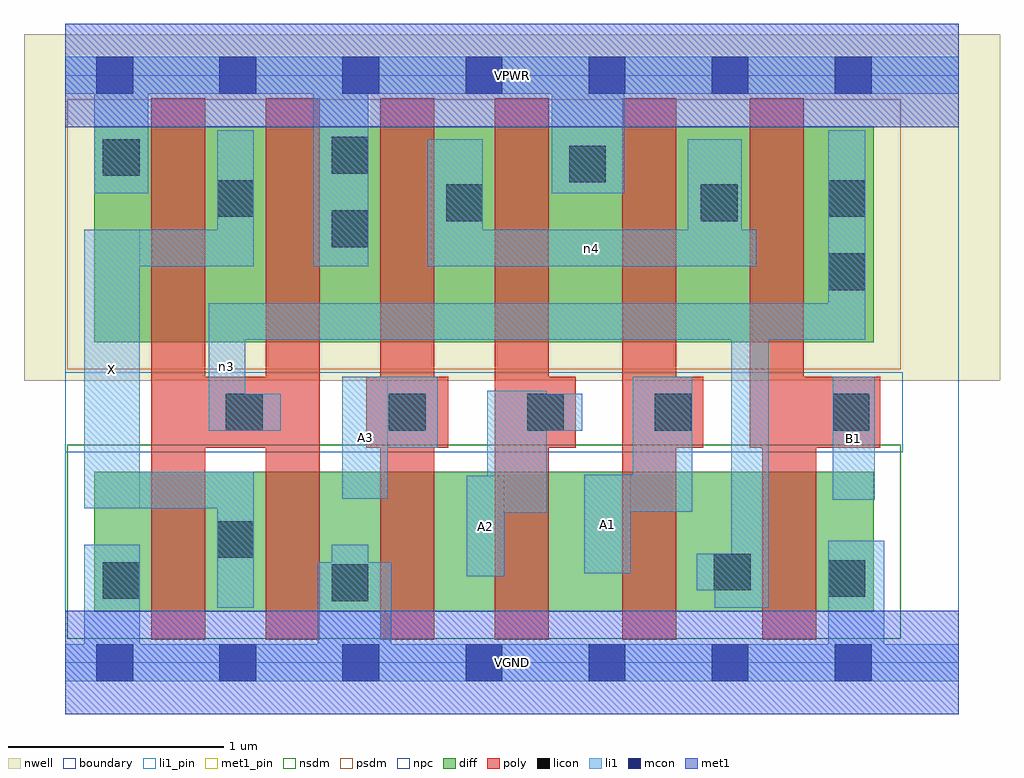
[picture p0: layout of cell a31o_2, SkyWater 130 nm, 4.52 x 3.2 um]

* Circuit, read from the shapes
.subckt a31o_2 A1 A2 A3 B1 VGND VPWR X n3 n4
XM1 X n3 VGND VSUBS sky130_fd_pr__nfet_01v8 w=0.65 l=0.25 m=2
XM2 n1 A3 VGND VSUBS sky130_fd_pr__nfet_01v8 w=0.65 l=0.25
XM3 n2 A2 n1 VSUBS sky130_fd_pr__nfet_01v8 w=0.65 l=0.25
XM4 n3 A1 n2 VSUBS sky130_fd_pr__nfet_01v8 w=0.65 l=0.25
XM5 VGND B1 n3 VSUBS sky130_fd_pr__nfet_01v8 w=0.65 l=0.25
XM6 X n3 VPWR n5 sky130_fd_pr__pfet_01v8 w=1 l=0.25 m=2
XM7 n4 A3 VPWR n5 sky130_fd_pr__pfet_01v8 w=1 l=0.25
XM8 VPWR A2 n4 n5 sky130_fd_pr__pfet_01v8 w=1 l=0.25
XM9 n4 A1 VPWR n5 sky130_fd_pr__pfet_01v8 w=1 l=0.25
XM10 n3 B1 n4 n5 sky130_fd_pr__pfet_01v8 w=1 l=0.25
.ends

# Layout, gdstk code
import gdstk
lib = gdstk.Library(unit=1e-6, precision=1e-09)
def R(c, l, rs):  # rectangles x0, y0, x1, y1
    for r in rs: c.add(gdstk.rectangle(r[:2], r[2:], *l))
def A(c, l, x, y, w, h, nx, ny, dx, dy):  # array of equal rectangles
    R(c, l, [(x+i*dx, y+j*dy, x+i*dx+w, y+j*dy+h) for i in range(nx) for j in range(ny)])
nwell = (64, 20)
diff = (65, 20)
poly = (66, 20)
licon = (66, 44)
li1_pin = (67, 16)
li1 = (67, 20)
mcon = (67, 44)
met1_pin = (68, 16)
met1 = (68, 20)
nsdm = (93, 44)
psdm = (94, 20)
npc = (95, 20)
boundary = (235, 4)

a31o_2 = lib.new_cell('a31o_2')
R(a31o_2, nwell, [(-0.19,1.305,4.33,2.91), (0,1.305,4.14,2.91)])
R(a31o_2, diff, [(0.135,0.235,3.745,0.885), (0.135,1.485,3.745,2.485)])
A(a31o_2, poly, 0.4, 0.105, 0.25, 2.51, 4, 1, 0.53, 0)
R(a31o_2, poly, [(2.58,0.105,2.83,2.615), (3.23,0.105,3.48,1.325), (0.4,0.995,1.18,1.325), (1.395,0.995,1.775,1.325), (1.99,0.995,2.365,1.325), (2.58,0.995,2.955,1.325), (3.17,0.995,3.42,2.615), (3.17,0.995,3.775,1.325)])
R(a31o_2, licon, [(1.235,0.285,1.405,0.455), (0.175,0.295,0.345,0.465), (3.535,0.305,3.705,0.475), (3.005,0.335,3.175,0.505), (0.705,0.485,0.875,0.655), (0.745,1.075,0.915,1.245), (1.5,1.075,1.67,1.245), (2.14,1.075,2.31,1.245), (2.73,1.075,2.9,1.245), (3.555,1.075,3.725,1.245), (3.535,1.725,3.705,1.895), (1.235,1.925,1.405,2.095), (1.765,2.045,1.935,2.215), (2.945,2.045,3.115,2.215), (0.705,2.065,0.875,2.235), (3.535,2.065,3.705,2.235), (2.335,2.225,2.505,2.395), (0.175,2.255,0.345,2.425), (1.235,2.265,1.405,2.435)])
R(a31o_2, li1_pin, [(1.86,0.4,2.035,0.865), (2.405,0.415,2.62,0.87), (0.09,0.715,0.345,2.005), (3.555,0.755,3.75,1.325), (1.285,0.76,1.495,1.325)])
R(a31o_2, li1, [(0,-0.085,4.14,0.085), (0.09,-0.085,0.345,0.545), (1.17,-0.085,1.51,0.465), (1.235,-0.085,1.405,0.545), (3.535,-0.085,3.795,0.565), (0.705,0.255,0.875,0.885), (3.01,0.255,3.26,0.505), (3.085,0.255,3.26,1.665), (2.925,0.335,3.26,0.505), (1.86,0.4,2.035,0.865), (2.405,0.415,2.62,0.87), (1.955,0.695,2.23,1.26), (2.405,0.7,2.905,0.87), (2.63,0.7,2.905,1.325), (0.09,0.715,0.345,2.005), (0.09,0.715,0.875,0.885), (3.555,0.755,3.75,1.325), (1.285,0.76,1.495,1.325), (1.285,0.995,1.725,1.325), (0.665,1.075,0.835,1.665), (0.665,1.075,1,1.245), (1.955,1.075,2.395,1.245), (0.665,1.495,3.705,1.665), (3.535,1.495,3.705,2.465), (0.09,1.835,0.875,2.005), (0.705,1.835,0.875,2.465), (1.15,1.835,1.405,2.805), (1.68,1.835,3.2,2.005), (1.68,1.835,1.935,2.425), (2.885,1.835,3.135,2.425), (0.135,2.175,0.385,2.805), (2.255,2.175,2.59,2.805), (0,2.635,4.14,2.805)])
A(a31o_2, mcon, 0.145, -0.085, 0.17, 0.17, 7, 2, 0.57, 2.72)
R(a31o_2, met1_pin, [(0,-0.24,4.14,0.24), (0,2.48,4.14,2.96)])
R(a31o_2, met1, [(0,-0.24,4.14,0.24), (0,2.48,4.14,2.96)])
R(a31o_2, nsdm, [(0.01,0.11,3.87,1.01)])
R(a31o_2, psdm, [(0.01,1.36,3.87,2.61)])
R(a31o_2, npc, [(0,0.975,3.88,1.345)])
R(a31o_2, boundary, [(0,0,4.14,2.72)])
a31o_2.add(gdstk.Label('A1', (2.512,0.642), layer=67, texttype=5))
a31o_2.add(gdstk.Label('A2', (1.947,0.632), layer=67, texttype=5))
a31o_2.add(gdstk.Label('A3', (1.39,1.042), layer=67, texttype=5))
a31o_2.add(gdstk.Label('B1', (3.652,1.04), layer=67, texttype=5))
a31o_2.add(gdstk.Label('X', (0.217,1.36), layer=67, texttype=5))
a31o_2.add(gdstk.Label('n4', (2.44,1.92), layer=67, texttype=5))
a31o_2.add(gdstk.Label('n3', (0.75,1.37), layer=67, texttype=5))
a31o_2.add(gdstk.Label('VPWR', (2.07,2.72), layer=68, texttype=5))
a31o_2.add(gdstk.Label('VGND', (2.07,0), layer=68, texttype=5))
a31o_2.add(gdstk.Label('A1', (2.512,0.642), layer=67, texttype=16))
a31o_2.add(gdstk.Label('A2', (1.947,0.632), layer=67, texttype=16))
a31o_2.add(gdstk.Label('A3', (1.39,1.042), layer=67, texttype=16))
a31o_2.add(gdstk.Label('B1', (3.652,1.04), layer=67, texttype=16))
a31o_2.add(gdstk.Label('X', (0.217,1.36), layer=67, texttype=16))
a31o_2.add(gdstk.Label('VPWR', (2.07,2.72), layer=68, texttype=16))
a31o_2.add(gdstk.Label('VGND', (2.07,0), layer=68, texttype=16))

lib.write_gds('a31o_2.gds')
